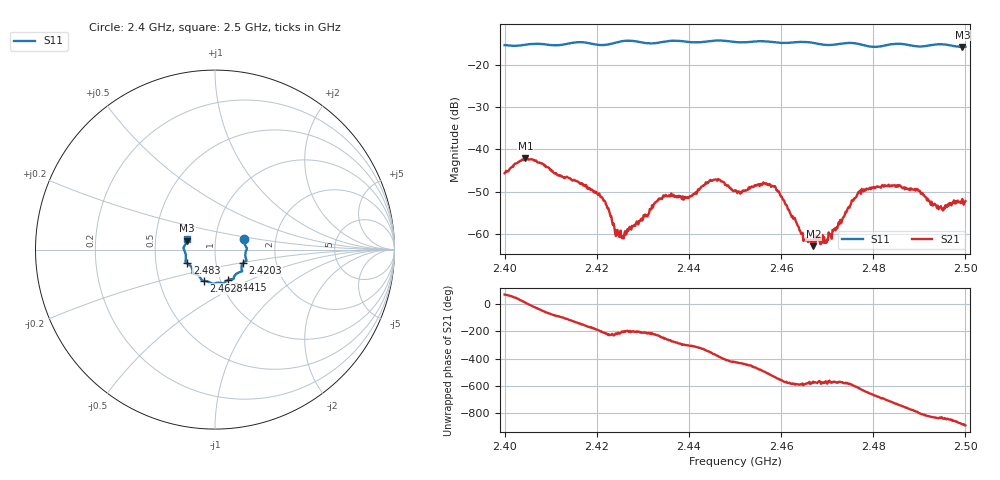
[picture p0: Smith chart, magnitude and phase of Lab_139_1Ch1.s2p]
# Hz S RI R 50
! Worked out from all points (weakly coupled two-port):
!   601 points, 2.4 GHz to 2.5 GHz, reference 50 ohm
!   highest |S21| = -42.12 dB at 2.4045 GHz (marker M1); lowest = -62.9 dB at 2.467 GHz (marker M2)
!   lowest |S11| = -15.8 dB at 2.4993 GHz (marker M3), VSWR 1.39, Z = 36.4 + j3.66 ohm
!   |S11| at or under -10 dB: start of sweep to end of sweep
!   S12 and S22 are empty: the file has one direction only
!   S11 on the Smith chart (normalised r, x): 2.4 GHz: 1.38, +0.16; 2.4203 GHz: 1.35, -0.21; 2.4415 GHz: 1.09, -0.38; 2.4628 GHz: 0.83, -0.30; 2.483 GHz: 0.73, -0.11; 2.5 GHz: 0.73, +0.09
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2.4e9  0.162 0.0568  0.00174 0.00495  0 0  0 0
2.4045e9  0.1728 0.0155  0.00767 0.00162  0 0  0 0
2.416667e9  0.1751 -0.0619  -0.00336 -0.00206  0 0  0 0
2.420333e9  0.1561 -0.0745  -0.00284 0.000559  0 0  0 0
2.425333e9  0.1505 -0.1164  -0.00084 0.000358  0 0  0 0
2.433333e9  0.108 -0.1478  -0.00167 0.00195  0 0  0 0
2.4415e9  0.0735 -0.1691  0.00208 0.00233  0 0  0 0
2.446e9  0.0487 -0.1883  0.00418 -0.00123  0 0  0 0
2.45e9  0.0298 -0.1846  0.00142 -0.00298  0 0  0 0
2.458167e9  -0.025 -0.1851  -0.0036 -0.000851  0 0  0 0
2.462833e9  -0.0622 -0.1742  -0.00111 0.00109  0 0  0 0
2.464833e9  -0.071 -0.1734  -0.000488 0.000669  0 0  0 0
2.466667e9  -0.0751 -0.1675  -0.000677 0.000481  0 0  0 0
2.467e9  -0.0761 -0.1656  -0.000633 0.000338  0 0  0 0
2.469667e9  -0.0899 -0.1472  -0.000748 0.000355  0 0  0 0
2.477167e9  -0.1252 -0.1229  -0.000483 0.00322  0 0  0 0
2.483e9  -0.1538 -0.0766  0.00356 0.000946  0 0  0 0
2.483333e9  -0.1562 -0.0754  0.00377 0.000709  0 0  0 0
2.489667e9  -0.1624 -0.0337  0.00105 -0.00321  0 0  0 0
2.494667e9  -0.1754 0.0107  -0.000911 -0.00194  0 0  0 0
2.499333e9  -0.1554 0.049  -0.00244 -0.000869  0 0  0 0
2.5e9  -0.1534 0.0575  -0.00241 -0.000434  0 0  0 0
